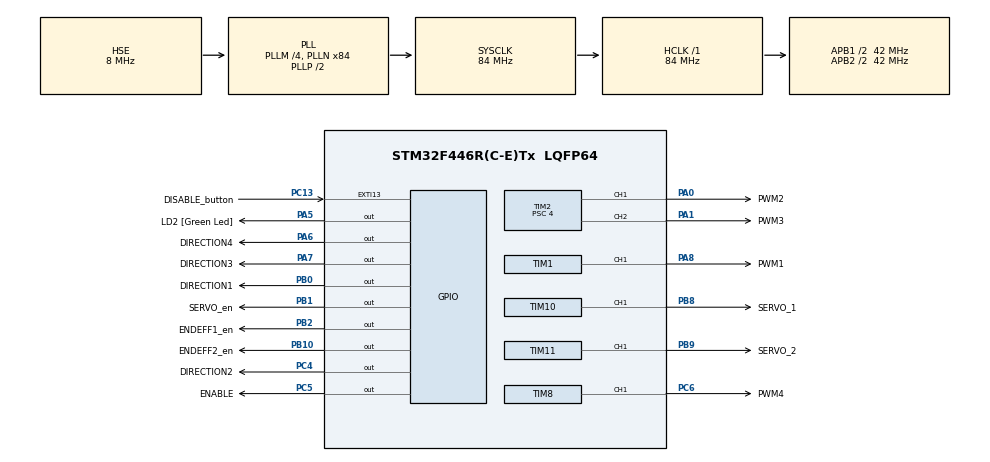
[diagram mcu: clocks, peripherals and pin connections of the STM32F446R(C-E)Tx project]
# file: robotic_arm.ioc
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Mcu.Family=STM32F4
Mcu.Name=STM32F446R(C-E)Tx
Mcu.Package=LQFP64
NVIC.EXTI15_10_IRQn=true\:0\:0\:true\:false\:true\:true\:true\:true
NVIC.PriorityGroup=NVIC_PRIORITYGROUP_1
NVIC.TIM1_CC_IRQn=true\:1\:0\:true\:false\:true\:true\:true\:true
NVIC.TIM2_IRQn=true\:1\:0\:true\:false\:true\:true\:true\:true
NVIC.TIM6_DAC_IRQn=true\:0\:0\:false\:false\:true\:true\:true\:true
NVIC.TIM8_BRK_TIM12_IRQn=true\:1\:0\:true\:false\:true\:true\:true\:true
NVIC.TIM8_CC_IRQn=true\:1\:0\:true\:false\:true\:true\:true\:true
NVIC.TIM8_TRG_COM_TIM14_IRQn=true\:1\:0\:true\:false\:true\:true\:true\:true
NVIC.TIM8_UP_TIM13_IRQn=true\:1\:0\:true\:false\:true\:true\:true\:true
PA0-WKUP.GPIO_Label=PWM2
PA0-WKUP.Signal=S_TIM2_CH1_ETR
PA1.GPIO_Label=PWM3
PA1.Signal=S_TIM2_CH2
PA13.GPIO_Label=TMS
PA13.Mode=Serial_Wire
PA13.Signal=SYS_JTMS-SWDIO
PA14.GPIO_Label=TCK
PA14.Mode=Serial_Wire
PA14.Signal=SYS_JTCK-SWCLK
PA5.GPIO_Label=LD2 [Green Led]
PA5.Signal=GPIO_Output
PA6.GPIO_Label=DIRECTION4
PA6.GPIO_PuPd=GPIO_PULLDOWN
PA6.Signal=GPIO_Output
PA7.GPIO_Label=DIRECTION3
PA7.GPIO_PuPd=GPIO_PULLDOWN
PA7.Signal=GPIO_Output
PA8.GPIO_Label=PWM1
PA8.Signal=S_TIM1_CH1
PB0.GPIO_Label=DIRECTION1
PB0.GPIO_ModeDefaultOutputPP=GPIO_MODE_OUTPUT_PP
PB0.GPIO_PuPd=GPIO_PULLDOWN
PB0.Signal=GPIO_Output
PB1.GPIO_Label=SERVO_en
PB1.GPIO_PuPd=GPIO_PULLDOWN
PB1.PinState=GPIO_PIN_RESET
PB1.Signal=GPIO_Output
PB10.GPIO_Label=ENDEFF2_en
PB10.GPIO_PuPd=GPIO_PULLUP
PB10.PinState=GPIO_PIN_SET
PB10.Signal=GPIO_Output
PB2.GPIO_Label=ENDEFF1_en
PB2.GPIO_PuPd=GPIO_PULLUP
PB2.PinState=GPIO_PIN_SET
PB2.Signal=GPIO_Output
PB3.GPIO_Label=SWO
PB3.Signal=SYS_JTDO-SWO
PB8.GPIO_Label=SERVO_1
PB8.Signal=S_TIM10_CH1
PB9.GPIO_Label=SERVO_2
PB9.Signal=S_TIM11_CH1
PC13.GPIO_Label=DISABLE_button
PC13.Signal=GPXTI13
PC14-OSC32_IN.Mode=LSE-External-Oscillator
PC14-OSC32_IN.Signal=RCC_OSC32_IN
PC15-OSC32_OUT.Mode=LSE-External-Oscillator
PC15-OSC32_OUT.Signal=RCC_OSC32_OUT
PC4.GPIO_Label=DIRECTION2
PC4.GPIO_PuPd=GPIO_PULLDOWN
PC4.Signal=GPIO_Output
PC5.GPIO_Label=ENABLE
PC5.GPIO_PuPd=GPIO_PULLUP
PC5.GPIO_Speed=GPIO_SPEED_FREQ_HIGH
PC5.PinState=GPIO_PIN_SET
PC5.Signal=GPIO_Output
PC6.GPIO_Label=PWM4
PC6.Signal=S_TIM8_CH1
PH0-OSC_IN.Mode=HSE-External-Oscillator
PH0-OSC_IN.Signal=RCC_OSC_IN
PH1-OSC_OUT.Mode=HSE-External-Oscillator
PH1-OSC_OUT.Signal=RCC_OSC_OUT
ProjectManager.HeapSize=0x200
ProjectManager.StackSize=0x400
ProjectManager.TargetToolchain=STM32CubeIDE
RCC.48MHZClocksFreq_Value=84000000
RCC.AHBFreq_Value=84000000
RCC.APB1CLKDivider=RCC_HCLK_DIV2
RCC.APB1Freq_Value=42000000
RCC.APB1TimFreq_Value=84000000
RCC.APB2CLKDivider=RCC_HCLK_DIV2
RCC.APB2Freq_Value=42000000
RCC.APB2TimFreq_Value=84000000
RCC.CortexFreq_Value=84000000
RCC.FLatency-AdvancedSettings=FLASH_LATENCY_2
RCC.HCLKFreq_Value=84000000
RCC.HSE_VALUE=8000000
RCC.HSI_VALUE=16000000
RCC.PLLM=4
RCC.PLLN=84
RCC.PLLSourceVirtual=RCC_PLLSOURCE_HSE
RCC.SYSCLKFreq_VALUE=84000000
RCC.SYSCLKSource=RCC_SYSCLKSOURCE_PLLCLK
RCC.USBFreq_Value=84000000
RCC.VCOOutputFreq_Value=168000000
SH.S_TIM10_CH1.0=TIM10_CH1,PWM Generation1 CH1
SH.S_TIM11_CH1.0=TIM11_CH1,PWM Generation1 CH1
SH.S_TIM1_CH1.0=TIM1_CH1,PWM Generation1 CH1
SH.S_TIM2_CH1_ETR.0=TIM2_CH1,PWM Generation1 CH1
SH.S_TIM2_CH2.0=TIM2_CH2,PWM Generation2 CH2
SH.S_TIM8_CH1.0=TIM8_CH1,PWM Generation1 CH1
TIM1.AutoReloadPreload=TIM_AUTORELOAD_PRELOAD_ENABLE
TIM1.Channel-PWM\ Generation1\ CH1=TIM_CHANNEL_1
TIM1.OCFastMode_PWM-PWM\ Generation1\ CH1=TIM_OCFAST_ENABLE
TIM1.Period=65535
TIM1.Prescaler=4
TIM1.Pulse-PWM\ Generation1\ CH1=32768
TIM1.TIM_MasterOutputTrigger=TIM_TRGO_UPDATE
TIM1.TIM_MasterSlaveMode=TIM_MASTERSLAVEMODE_ENABLE
TIM10.AutoReloadPreload=TIM_AUTORELOAD_PRELOAD_ENABLE
TIM10.Channel=TIM_CHANNEL_1
TIM10.OCFastMode_PWM=TIM_OCFAST_ENABLE
TIM10.Pulse=1
TIM11.AutoReloadPreload=TIM_AUTORELOAD_PRELOAD_ENABLE
TIM11.Channel=TIM_CHANNEL_1
TIM11.OCFastMode_PWM=TIM_OCFAST_ENABLE
TIM11.Pulse=1
TIM2.AutoReloadPreload=TIM_AUTORELOAD_PRELOAD_ENABLE
TIM2.Channel-PWM\ Generation1\ CH1=TIM_CHANNEL_1
TIM2.Channel-PWM\ Generation2\ CH2=TIM_CHANNEL_2
TIM2.OCFastMode_PWM-PWM\ Generation1\ CH1=TIM_OCFAST_ENABLE
TIM2.OCFastMode_PWM-PWM\ Generation2\ CH2=TIM_OCFAST_ENABLE
TIM2.Period=65535
TIM2.Prescaler=4
TIM2.Pulse-PWM\ Generation1\ CH1=32768
TIM2.Pulse-PWM\ Generation2\ CH2=32768
TIM2.TIM_MasterOutputTrigger=TIM_TRGO_UPDATE
TIM2.TIM_MasterSlaveMode=TIM_MASTERSLAVEMODE_ENABLE
TIM3.AutoReloadPreload=TIM_AUTORELOAD_PRELOAD_ENABLE
TIM3.CounterMode=TIM_COUNTERMODE_UP
TIM3.Period=199
TIM3.Prescaler=65535
TIM3.TIM_MasterOutputTrigger=TIM_TRGO_RESET
TIM3.TIM_MasterSlaveMode=TIM_MASTERSLAVEMODE_DISABLE
TIM4.AutoReloadPreload=TIM_AUTORELOAD_PRELOAD_ENABLE
TIM4.Period=199
TIM4.Prescaler=65535
TIM5.AutoReloadPreload=TIM_AUTORELOAD_PRELOAD_DISABLE
TIM5.Period=199
TIM5.Prescaler=65535
TIM5.TIM_MasterOutputTrigger=TIM_TRGO_RESET
TIM5.TIM_MasterSlaveMode=TIM_MASTERSLAVEMODE_DISABLE
TIM6.Period=1400
TIM6.Prescaler=27
TIM8.AutoReloadPreload=TIM_AUTORELOAD_PRELOAD_ENABLE
TIM8.Channel-PWM\ Generation1\ CH1=TIM_CHANNEL_1
TIM8.OCFastMode_PWM-PWM\ Generation1\ CH1=TIM_OCFAST_ENABLE
TIM8.Period=65535
TIM8.Prescaler=4
TIM8.Pulse-PWM\ Generation1\ CH1=32768
TIM8.TIM_MasterOutputTrigger=TIM_TRGO_UPDATE
TIM8.TIM_MasterSlaveMode=TIM_MASTERSLAVEMODE_ENABLE
VP_TIM10_VS_ClockSourceINT.Mode=Enable_Timer
VP_TIM11_VS_ClockSourceINT.Mode=Enable_Timer
VP_TIM1_VS_ClockSourceINT.Mode=Internal
VP_TIM2_VS_ClockSourceINT.Mode=Internal
VP_TIM3_VS_ClockSourceINT.Mode=Internal
VP_TIM3_VS_ClockSourceITR.Mode=TriggerSource_ITR1
VP_TIM3_VS_ControllerModeTrigger.Mode=Trigger Mode
VP_TIM4_VS_ClockSourceINT.Mode=Internal
VP_TIM4_VS_ClockSourceITR.Mode=TriggerSource_ITR0
VP_TIM4_VS_ControllerModeTrigger.Mode=Trigger Mode
VP_TIM5_VS_ClockSourceINT.Mode=Internal
VP_TIM5_VS_ClockSourceITR.Mode=TriggerSource_ITR3
VP_TIM5_VS_ControllerModeTrigger.Mode=Trigger Mode
VP_TIM6_VS_ClockSourceINT.Mode=Enable_Timer
VP_TIM8_VS_ClockSourceINT.Mode=Internal
board=NUCLEO-F446RE

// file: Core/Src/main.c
/* USER CODE BEGIN Header */
/**
 ******************************************************************************
 * @file           : main.c
 * @brief          : Main program body
 ******************************************************************************
 * @attention
 *
 * Copyright (c) 2025 STMicroelectronics.
 * All rights reserved.
 *
 * This software is licensed under terms that can be found in the LICENSE file
 * in the root directory of this software component.
 * If no LICENSE file comes with this software, it is provided AS-IS.
 *
 ******************************************************************************
 */
/* USER CODE END Header */
#include "main.h"
#include "tim.h"
#include "gpio.h"

/* USER CODE BEGIN Includes */
#include "stepper.h"
#include "servo.h"

#define TRAPEZOIDAL_PROFILE /*COMMENT THIS IF YOU DON'T WANT THIS MOTION PROFILE FOR THE STEPPERS
 	 	 	 	 	 	 	 	AND ENABLE THE INTERRUPTS FOR THE SLAVE TIMERS*/

#ifdef TRAPEZOIDAL_PROFILE
#include "trapezoidal_profile.h"
#include "trapezoidal_profile.c"
#endif

#ifndef TRAPEZOIDAL_PROFILE
#include "stp_callback.c"
#endif

/* USER CODE END Includes */

/* USER CODE BEGIN PV */
static stepper_obj stp1;
static stepper_obj stp2;
static stepper_obj stp3;
static stepper_obj stp4;
static servo_obj srv1;
static servo_obj srv2;

/* USER CODE END PV */

void SystemClock_Config(void);

int main(void)
{

  /* MCU Configuration--------------------------------------------------------*/

  /* Reset of all peripherals, Initializes the Flash interface and the Systick. */
  HAL_Init();

  /* Configure the system clock */
  SystemClock_Config();

  /* Initialize all configured peripherals */
  MX_GPIO_Init();
  MX_TIM3_Init();
  MX_TIM5_Init();
  MX_TIM1_Init();
  MX_TIM2_Init();
  MX_TIM4_Init();
  MX_TIM8_Init();
  MX_TIM10_Init();
  MX_TIM11_Init();
  MX_TIM6_Init();
  /* USER CODE BEGIN 2 */

	/*IF YOU'RE NOT USING THE TRAPEZOIDAL PROFILE USE THE HAL_TIM_BASE_START_IT*/
	HAL_TIM_Base_Start(&htim4); //start timer 1st joint
	HAL_TIM_Base_Start(&htim3); //start timer 2nd joint
	HAL_TIM_Base_Start(&htim5); //start timer 3rd joint

	HAL_GPIO_WritePin(ENABLE_GPIO_Port, ENABLE_Pin, GPIO_PIN_RESET); //ENABLE stepper motors

	/* stepper_init(obj, timer pwm, timer slave, resol, microstep, enable_port, direction_port */
	stepper_init(&stp1, &htim1, &htim4, 1.8, 4 * 4.27, DIRECTION1_GPIO_Port,
	DIRECTION1_Pin);
	stepper_init(&stp2, &htim2, &htim3, 1.8, 4 * 6, DIRECTION2_GPIO_Port,
	DIRECTION2_Pin);
	stepper_init(&stp3, &htim2, &htim3, 1.8, 4 * 6, DIRECTION3_GPIO_Port,
	DIRECTION3_Pin);
	stepper_init(&stp4, &htim8, &htim5, 1.8, 8 * 4.9, DIRECTION4_GPIO_Port,
	DIRECTION4_Pin);

	//servo: default position 0° in the range {-90,+90}
	/*servo_init(obj, timer pwm)*/
	servo_init(&srv1, &htim10);
	servo_init(&srv2, &htim11);

  /* USER CODE END 2 */

  /* Infinite loop */
	while (1) {

	}
}

void SystemClock_Config(void)
{
  RCC_OscInitTypeDef RCC_OscInitStruct = {0};
  RCC_ClkInitTypeDef RCC_ClkInitStruct = {0};

  /** Configure the main internal regulator output voltage
  */
  __HAL_RCC_PWR_CLK_ENABLE();
  __HAL_PWR_VOLTAGESCALING_CONFIG(PWR_REGULATOR_VOLTAGE_SCALE3);

  /** Initializes the RCC Oscillators according to the specified parameters
  * in the RCC_OscInitTypeDef structure.
  */
  RCC_OscInitStruct.OscillatorType = RCC_OSCILLATORTYPE_HSE;
  RCC_OscInitStruct.HSEState = RCC_HSE_ON;
  RCC_OscInitStruct.PLL.PLLState = RCC_PLL_ON;
  RCC_OscInitStruct.PLL.PLLSource = RCC_PLLSOURCE_HSE;
  RCC_OscInitStruct.PLL.PLLM = 4;
  RCC_OscInitStruct.PLL.PLLN = 84;
  RCC_OscInitStruct.PLL.PLLP = RCC_PLLP_DIV2;
  RCC_OscInitStruct.PLL.PLLQ = 2;
  RCC_OscInitStruct.PLL.PLLR = 2;
  if (HAL_RCC_OscConfig(&RCC_OscInitStruct) != HAL_OK)
  {
    Error_Handler();
  }

  /** Initializes the CPU, AHB and APB buses clocks
  */
  RCC_ClkInitStruct.ClockType = RCC_CLOCKTYPE_HCLK|RCC_CLOCKTYPE_SYSCLK
                              |RCC_CLOCKTYPE_PCLK1|RCC_CLOCKTYPE_PCLK2;
  RCC_ClkInitStruct.SYSCLKSource = RCC_SYSCLKSOURCE_PLLCLK;
  RCC_ClkInitStruct.AHBCLKDivider = RCC_SYSCLK_DIV1;
  RCC_ClkInitStruct.APB1CLKDivider = RCC_HCLK_DIV2;
  RCC_ClkInitStruct.APB2CLKDivider = RCC_HCLK_DIV2;

  if (HAL_RCC_ClockConfig(&RCC_ClkInitStruct, FLASH_LATENCY_2) != HAL_OK)
  {
    Error_Handler();
  }
}

void Error_Handler(void)
{
	__disable_irq();
	while (1) {
	}
}
